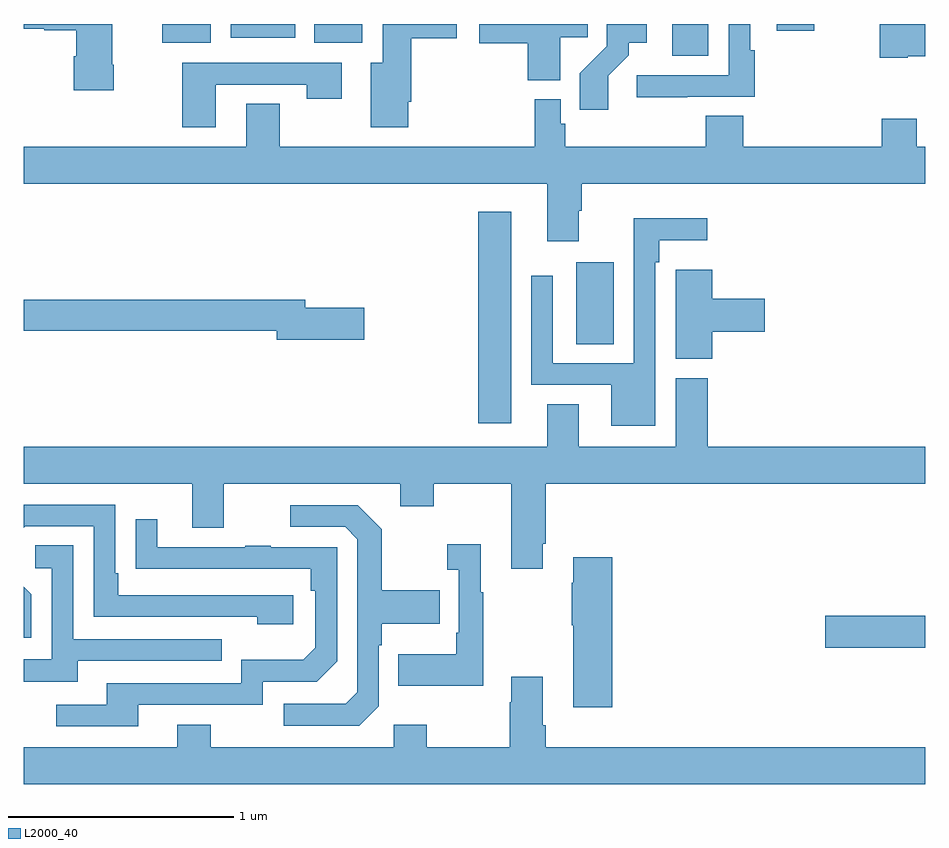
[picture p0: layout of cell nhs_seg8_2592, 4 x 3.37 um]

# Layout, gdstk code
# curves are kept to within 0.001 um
import gdstk
lib = gdstk.Library(unit=1e-6, precision=1e-09)
def R(c, l, rs):  # rectangles x0, y0, x1, y1
    for r in rs: c.add(gdstk.rectangle(r[:2], r[2:], *l))
def P(c, l, *ps):  # polygons
    for p in ps: c.add(gdstk.Polygon(p, *l))
L2000_40 = (2000, 40)

nhs_seg8_2592 = lib.new_cell('nhs_seg8_2592')
R(nhs_seg8_2592, L2000_40, [(278.556,1089.133,279,1089.275), (277.016,1090.128,277.162,1091.068), (277.451,1090.48,277.618,1090.843), (277.877,1091.76,278.038,1091.9), (275.615,1091.816,275.83,1091.9), (276.29,1091.816,276.502,1091.9), (275.918,1091.84,276.205,1091.9), (278.342,1091.871,278.508,1091.9)])
P(nhs_seg8_2592, L2000_40, [(277.381,1091.842),(277.502,1091.842),(277.502,1091.9),(277.02,1091.9),(277.02,1091.815),(277.237,1091.815),(277.237,1091.651),(277.381,1091.651)],
  [(277.943,1091.577),(278.243,1091.577),(278.243,1091.783),(278.223,1091.783),(278.223,1091.9),(278.127,1091.9),(278.127,1091.673),(277.719,1091.673),(277.719,1091.575),(277.943,1091.575)],
  [(276.706,1091.554),(276.719,1091.554),(276.719,1091.837),(276.922,1091.837),(276.922,1091.9),(276.593,1091.9),(276.593,1091.728),(276.539,1091.728),(276.539,1091.442),(276.706,1091.442)],
  [(278.922,1091.756),(279,1091.756),(279,1091.9),(278.797,1091.9),(278.797,1091.75),(278.922,1091.75)],
  [(275.4,1091.719),(275.392,1091.719),(275.392,1091.9),(275,1091.9),(275,1091.88),(275.091,1091.88),(275.091,1091.872),(275.234,1091.872),(275.234,1091.757),(275.222,1091.757),(275.222,1091.607),(275.4,1091.607)],
  [(277.594,1091.671),(277.684,1091.761),(277.684,1091.816),(277.765,1091.816),(277.765,1091.9),(277.587,1091.9),(277.587,1091.801),(277.468,1091.682),(277.468,1091.52),(277.594,1091.52)],
  [(275.851,1091.631),(276.256,1091.631),(276.256,1091.568),(276.412,1091.568),(276.412,1091.727),(275.704,1091.727),(275.704,1091.442),(275.851,1091.442)],
  [(277.462,1091.072),(277.475,1091.072),(277.475,1091.192),(279,1091.192),(279,1091.356),(278.963,1091.356),(278.963,1091.48),(278.807,1091.48),(278.807,1091.356),(278.192,1091.356),(278.192,1091.492),(278.027,1091.492),(278.027,1091.356),(277.403,1091.356),(277.403,1091.457),(277.383,1091.457),(277.383,1091.566),(277.267,1091.566),(277.267,1091.356),(276.135,1091.356),(276.135,1091.546),(275.987,1091.546),(275.987,1091.356),(275,1091.356),(275,1091.192),(277.322,1091.192),(277.322,1090.935),(277.462,1090.935)],
  [(277.803,1090.844),(277.819,1090.844),(277.819,1090.94),(278.032,1090.94),(278.032,1091.038),(277.707,1091.038),(277.707,1090.395),(277.347,1090.395),(277.347,1090.783),(277.251,1090.783),(277.251,1090.299),(277.607,1090.299),(277.607,1090.118),(277.803,1090.118)],
  [(278.054,1090.535),(278.287,1090.535),(278.287,1090.682),(278.054,1090.682),(278.054,1090.81),(277.893,1090.81),(277.893,1090.697),(277.892,1090.697),(277.892,1090.414),(278.054,1090.414)],
  [(276.511,1090.64),(276.25,1090.64),(276.25,1090.676),(275,1090.676),(275,1090.54),(276.122,1090.54),(276.122,1090.498),(276.511,1090.498)],
  [(277.303,1089.595),(277.316,1089.595),(277.316,1089.86),(279,1089.86),(279,1090.024),(278.036,1090.024),(278.036,1090.329),(277.892,1090.329),(277.892,1090.024),(277.462,1090.024),(277.462,1090.214),(277.322,1090.214),(277.322,1090.024),(275,1090.024),(275,1089.86),(275.747,1089.86),(275.747,1089.666),(275.887,1089.666),(275.887,1089.86),(276.671,1089.86),(276.671,1089.761),(276.819,1089.761),(276.819,1089.86),(277.163,1089.86),(277.163,1089.483),(277.303,1089.483)],
  [(276.196,1089.366),(275.419,1089.366),(275.419,1089.463),(275.406,1089.463),(275.406,1089.768),(275,1089.768),(275,1089.665),(275.007,1089.672),(275.31,1089.672),(275.31,1089.27),(276.035,1089.27),(276.035,1089.236),(276.196,1089.236)],
  [(276.576,1088.874),(276.576,1089.143),(276.589,1089.143),(276.589,1089.239),(276.845,1089.239),(276.845,1089.387),(276.589,1089.387),(276.589,1089.659),(276.483,1089.765),(276.183,1089.765),(276.183,1089.669),(276.426,1089.669),(276.48,1089.615),(276.48,1088.934),(276.429,1088.883),(276.153,1088.883),(276.153,1088.787),(276.489,1088.787)],
  [(275.509,1088.88),(276.06,1088.88),(276.06,1088.982),(276.3,1088.982),(276.39,1089.072),(276.39,1089.579),(276.095,1089.579),(276.095,1089.584),(275.983,1089.584),(275.983,1089.579),(275.593,1089.579),(275.593,1089.703),(275.497,1089.703),(275.497,1089.484),(276.274,1089.483),(276.274,1089.386),(276.294,1089.386),(276.294,1089.132),(276.241,1089.079),(275.964,1089.079),(275.964,1088.976),(275.369,1088.976),(275.369,1088.88),(275.145,1088.88),(275.145,1088.784),(275.509,1088.784)],
  [(277.039,1089.379),(277.027,1089.379),(277.027,1089.592),(276.879,1089.592),(276.879,1089.479),(276.93,1089.479),(276.93,1089.199),(276.918,1089.199),(276.918,1089.103),(276.661,1089.103),(276.661,1088.963),(277.039,1088.963)],
  [(275.239,1089.075),(275.879,1089.075),(275.879,1089.171),(275.22,1089.171),(275.22,1089.587),(275.052,1089.587),(275.052,1089.486),(275.124,1089.486),(275.124,1089.081),(275,1089.081),(275,1088.981),(275.239,1088.981)],
  [(277.612,1089.535),(277.439,1089.535),(277.439,1089.422),(277.432,1089.422),(277.432,1089.233),(277.439,1089.233),(277.439,1088.868),(277.612,1088.868)],
  [(275.034,1089.37),(275,1089.404),(275,1089.177),(275.034,1089.177)],
  [(277.163,1089.004),(277.163,1088.891),(277.156,1088.891),(277.156,1088.692),(276.789,1088.692),(276.789,1088.791),(276.642,1088.791),(276.642,1088.692),(275.829,1088.692),(275.829,1088.791),(275.681,1088.791),(275.681,1088.692),(275,1088.692),(275,1088.528),(279,1088.528),(279,1088.692),(277.316,1088.692),(277.316,1088.788),(277.303,1088.788),(277.303,1089.004)])

lib.write_gds('nhs_seg8_2592.gds')
